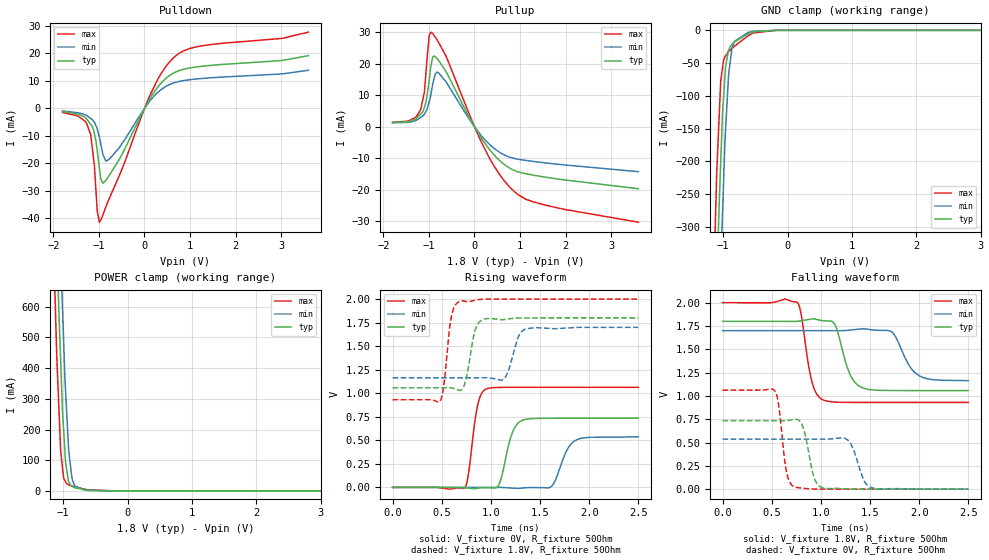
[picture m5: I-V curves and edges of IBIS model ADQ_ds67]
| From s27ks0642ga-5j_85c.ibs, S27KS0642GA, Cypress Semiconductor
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[Model]   ADQ_ds67
Model_type   I/O
Polarity   Non-Inverting
Enable   Active-High
Vinl = 0.54
Vinh = 1.26
Vmeas = 0.9
Vref = 0.9
Cref = 15pF
|   typ   min   max
C_comp   1.03pF   1.01pF   1.05pF
[Voltage Range]   1.8   1.7   2
[Temperature Range]   25   85   -40
[Pullup Reference]   1.8   1.7   2
[Pulldown Reference]   0   0   0
[Power Clamp Reference]   1.8   1.7   2
[GND Clamp Reference]   0   0   0
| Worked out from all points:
|   slope of the pulldown table from 0 to 0.27 V, typ, clamps not added: 36.6 ohm
|   slope of the pullup table from 0 to 0.27 V, typ, clamps not added: 44.1 ohm
|   falling waveform, V_fixture 1.8V, R_fixture 50Ohm: 20-80 % time 129ps typ, 157ps min, 98.2ps max; typ from 1.8 V to 1.06 V
|   rising waveform, V_fixture 0V, R_fixture 50Ohm: 20-80 % time 104ps typ, 124ps min, 80.1ps max; typ from 0 V to 0.735 V
|   rising waveform, V_fixture 1.8V, R_fixture 50Ohm: 20-80 % time 76.2ps typ, 88.8ps min, 65ps max; typ from 1.06 V to 1.8 V
|   falling waveform, V_fixture 0V, R_fixture 50Ohm: 20-80 % time 85ps typ, 103ps min, 68.5ps max; typ from 0.735 V to 0 V
[Pulldown]
|   Voltage   I(typ)   I(min)   I(max)
-1.8V     -1.179mA   -949uA     -1.466mA
-1.31V    -3.211mA   -2.324mA   -4.615mA
-1.184V   -5.77mA    -3.675mA   -9.364mA
-1.1V     -9.285mA   -5.081mA   -20.94mA
-1.067V   -11.7mA    -6.263mA   -29.57mA
-1.038V   -15.53mA   -7.381mA   -37.34mA
-992mV    -21.58mA   -10.47mA   -41.38mA
-916.2mV  -27.23mA   -16.59mA   -38.82mA
-776.6mV  -24.43mA   -18.57mA   -32.87mA
100mV     3.077mA    2.237mA    4.075mA
670mV     13.09mA    9.385mA    18.83mA
3.6V      19.15mA    13.84mA    27.72mA
[GND Clamp]
|   Voltage   I(typ)   I(min)   I(max)
-1.8V     -3.484A    -3.673A    -3.305A
-1.121V   -471.4mA   -665.4mA   -294.8mA
-1.1V     -396.3mA   -583.3mA   -217.3mA
-1.067V   -282.3mA   -466.1mA   -143.8mA
-1.037V   -198.4mA   -357.8mA   -76.68mA
-1.012V   -130.3mA   -284.6mA   -58.58mA
-963mV    -56.14mA   -152.8mA   -39mA
-914.3mV  -29.96mA   -65.98mA   -32.52mA
-865.8mV  -21.75mA   -30.09mA   -27.92mA
-822mV    -17.52mA   -16.76mA   -24.09mA
-616.8mV  -5.431mA   -3.404mA   -8.558mA
3.6V      0A         0A         0A
[Pullup]
|   Voltage   I(typ)   I(min)   I(max)
-1.8V     1.354mA    1.288mA    1.387mA
-1.46V    1.58mA     1.389mA    1.8mA
-1.184V   4.022mA    2.954mA    5.376mA
-1.1V     6.262mA    4.019mA    11.04mA
-1.066V   7.909mA    4.945mA    17.35mA
-994mV    14.98mA    8.008mA    29mA
-952mV    19.67mA    10.76mA    30.02mA
-863.3mV  22.24mA    16.76mA    28.44mA
-786.6mV  21.03mA    17.08mA    26.68mA
162mV     -3.845mA   -3.018mA   -5.105mA
902mV     -14.01mA   -10.13mA   -20.85mA
3.6V      -19.62mA   -14.21mA   -30.23mA
[POWER Clamp]
|   Voltage   I(typ)   I(min)   I(max)
-1.8V     6.849A     7.225A     6.488A
-1.13V    1.041A     1.443A     664.1mA
-1.1V     821.9mA    1.211A     442.5mA
-1.067V   590.9mA    975.3mA    277.1mA
-1.038V   420.1mA    764.7mA    128.1mA
-1.012V   267.7mA    604.4mA    77.93mA
-963mV    94.2mA     327.4mA    29.43mA
-918mV    32.41mA    147.1mA    20.18mA
-861.6mV  14.58mA    39.45mA    15.93mA
-822.5mV  10.42mA    17mA       13.64mA
-664.4mV  3.784mA    2.649mA    5.573mA
3.6V      0A         0A         0A
[Ramp]
R_load = 50
|   typ   min   max
dV/dt_r 4.4096E-01/1.0396E-10   3.2169E-01/1.2367E-10   6.3774E-01/7.9626E-11
dV/dt_f 4.4543E-01/1.2785E-10   3.2138E-01/1.5674E-10   6.4167E-01/9.8166E-11
[Falling Waveform]
V_fixture = 1.8V
V_fixture_min = 1.7V
V_fixture_max = 2V
R_fixture = 50Ohm
C_fixture = 0F
|   Time   V(typ)   V(min)   V(max)
0s        1.8V       1.7V       2V
765ps     1.801V     1.7V       1.998V
910ps     1.826V     1.7V       1.149V
1.03ns    1.806V     1.7V       953.2mV
1.14ns    1.771V     1.699V     933.8mV
1.295ns   1.235V     1.706V     930.8mV
1.41ns    1.093V     1.718V     930.6mV
1.73ns    1.058V     1.678V     930.5mV
2ns       1.058V     1.216V     930.5mV
2.5ns     1.058V     1.164V     930.5mV
[Rising Waveform]
V_fixture = 0V
V_fixture_min = 0V
V_fixture_max = 0V
R_fixture = 50Ohm
C_fixture = 0F
|   Time   V(typ)   V(min)   V(max)
0s        0V         0V         0V
735ps     -5.077mV   0V         -4.098mV
865ps     -8.817mV   -12.71uV   871.4mV
955ps     -2.681mV   53.29uV    1.046V
1.08ns    24.51mV    417.4uV    1.062V
1.205ns   542.2mV    -6.812mV   1.063V
1.31ns    707.8mV    -8.163mV   1.063V
1.615ns   734.5mV    9.158mV    1.063V
1.88ns    734.8mV    509.4mV    1.063V
2.5ns     734.9mV    536.1mV    1.063V
[Rising Waveform]
V_fixture = 1.8V
V_fixture_min = 1.7V
V_fixture_max = 2V
R_fixture = 50Ohm
C_fixture = 0F
|   Time   V(typ)   V(min)   V(max)
0s        1.058V     1.164V     930.5mV
485ps     1.058V     1.164V     919.5mV
525ps     1.058V     1.164V     1.114V
595ps     1.057V     1.164V     1.796V
680ps     1.03V      1.164V     1.976V
840ps     1.671V     1.164V     1.988V
910ps     1.778V     1.165V     1.998V
1.14ns    1.783V     1.159V     2V
1.355ns   1.8V       1.684V     2V
2.5ns     1.8V       1.7V       2V
[Falling Waveform]
|Gnd
V_fixture = 0V
V_fixture_min = 0V
V_fixture_max = 0V
R_fixture = 50Ohm
C_fixture = 0F
|   Time   V(typ)   V(min)   V(max)
0s        734.9mV    536.2mV    1.063V
530ps     734.9mV    536.2mV    1.056V
570ps     735mV      536.2mV    904.8mV
650ps     735.4mV    536.2mV    186.6mV
730ps     750mV      536.2mV    22.98mV
820ps     659.8mV    536.2mV    9.93mV
995ps     24.83mV    536.2mV    467.6uV
1.27ns    2.866mV    531.1mV    1.561uV
1.515ns   80.71uV    16.26mV    -944.8nV
2.5ns     0V         0V         0V
